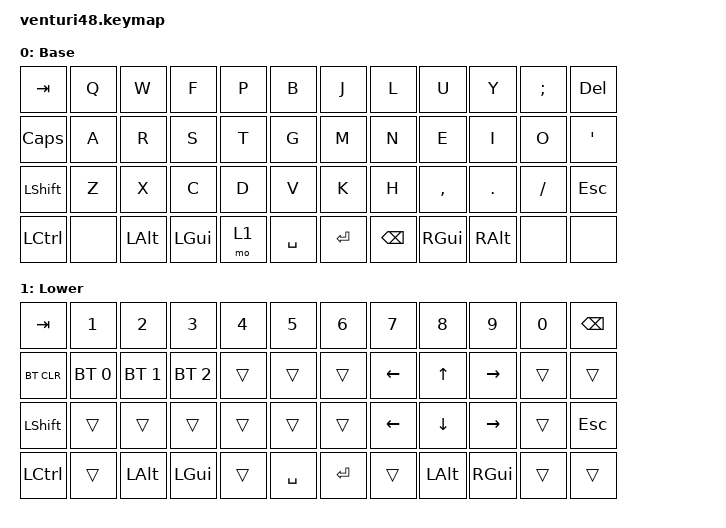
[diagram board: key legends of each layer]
#include <behaviors.dtsi>
#include <dt-bindings/zmk/keys.h>
#include <dt-bindings/zmk/bt.h>

/ {
    keymap {
        compatible = "zmk,keymap";

        default_layer { // Layer 0
            display-name = "Base";
            bindings = <
                &kp TAB   &kp Q    &kp W    &kp F    &kp P    &kp B        &kp J    &kp L    &kp U     &kp Y    &kp SEMI &kp DEL
                &kp CAPS  &kp A    &kp R    &kp S    &kp T    &kp G        &kp M    &kp N    &kp E     &kp I    &kp O    &kp SQT
                &kp LSHFT &kp Z    &kp X    &kp C    &kp D    &kp V        &kp K    &kp H    &kp COMMA &kp DOT  &kp FSLH &kp ESC
                &kp LCTRL &none    &kp LALT &kp LGUI &mo 1    &kp SPACE    &kp RET  &kp BSPC &kp RGUI  &kp RALT &none    &none
            >;
        };

        lower_layer { // Layer 1
            display-name = "Lower";
            bindings = <
                &kp TAB    &kp N1       &kp N2       &kp N3       &kp N4   &kp N5       &kp N6   &kp N7   &kp N8    &kp N9    &kp N0   &kp BSPC
                &bt BT_CLR &bt BT_SEL 0 &bt BT_SEL 1 &bt BT_SEL 2 &trans   &trans       &trans   &kp LEFT &kp UP    &kp RIGHT &trans   &trans
                &kp LSHFT  &trans       &trans       &trans       &trans   &trans       &trans   &kp LEFT &kp DOWN  &kp RIGHT &trans   &kp ESC
                &kp LCTRL  &trans       &kp LALT     &kp LGUI     &trans   &kp SPACE    &kp RET  &trans   &kp LALT  &kp RGUI  &trans   &trans
            >;
        };
    };
};
